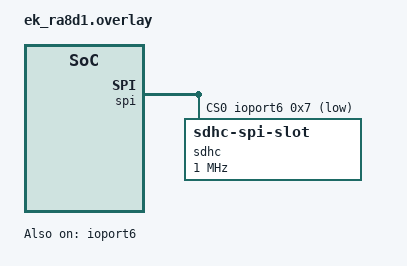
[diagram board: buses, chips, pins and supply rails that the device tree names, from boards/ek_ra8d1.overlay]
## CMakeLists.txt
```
# SPDX-License-Identifier: Apache-2.0

cmake_minimum_required(VERSION 3.28.0)
find_package(Zephyr REQUIRED HINTS $ENV{ZEPHYR_BASE})
project(fs_sample)

FILE(GLOB app_sources src/*.c)
target_sources(app PRIVATE ${app_sources})
```

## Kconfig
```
#
# Copyright (c) 2023 Nordic Semiconductor ASA
# Copyright (c) 2023 Antmicro <www.antmicro.com>
#
# SPDX-License-Identifier: Apache-2.0
#

mainmenu "Filesystems Sample Application"

config FS_SAMPLE_CREATE_SOME_ENTRIES
	bool "When no files are found on mounted partition create some"
	default y
	help
	  In case when no files could be listed, because there are none,
	  "some.dir" directory and "other.txt" file will be created
	  and list will run again to show them. This is useful when
	  showing how file system works on non-SD devices like internal
	  flash or (Q)SPI connected memories, where it is not possible to
	  easily add files with use of other device.

config FS_SAMPLE_MKFS
	bool "Format the disk when mounting fails"
	depends on FILE_SYSTEM_MKFS
	help
	  Format a blank disk and retry the mount. Enable this for the
	  SDHC emulator, whose storage starts erased.

source "Kconfig.zephyr"
```

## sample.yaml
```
sample:
  name: Filesystems sample
common:
  tags: filesystem
  modules:
    - fatfs
tests:
  sample.filesystem.fat_fs:
    depends_on: sdhc
    harness: console
    harness_config:
      fixture: fixture_sdhc
      type: multi_line
      regex:
        - "Block count"
        - "Sector size"
        - "Memory Size"
        - "Disk mounted"
    extra_args:
      - platform:ek_ra8m1/r7fa8m1ahecbd:SHIELD=pmod_sd
      - platform:ek_ra8p1/r7ka8p1kflcac/cm85:SHIELD=pmod_sd
  sample.filesystem.fat_fs.overlay:
    platform_allow: nrf52840_blip
  sample.filesystem.fat_fs.adafruit_2_8_tft_touch_v2:
    depends_on:
      - arduino_spi
      - arduino_gpio
      - arduino_i2c
    platform_exclude:
      - stm32f769i_disco
      - pan1781_evb
      - pan1782_evb
      - frdm_k64f
      - mimxrt1010_evk
    extra_args: SHIELD=adafruit_2_8_tft_touch_v2
    tags: shield
    harness: console
    harness_config:
      fixture: fixture_shield_adafruit_2_8_tft_touch_v2
      type: multi_line
      regex:
        - "Block count"
        - "Sector size"
        - "Memory Size"
        - "Disk mounted"
  sample.filesystem.fat_fs.nrf52840dk_nrf52840:
    build_only: true
    platform_allow: nrf52840dk/nrf52840
  sample.filesystem.fat_fs.nrf52840dk_nrf52840_ram_disk:
    build_only: true
    platform_allow: nrf52840dk/nrf52840
    extra_args:
      - EXTRA_CONF_FILE=boards/nrf52840dk_nrf52840_ram_disk.conf
      - DTC_OVERLAY_FILE=boards/nrf52840dk_nrf52840_ram_disk.overlay
  sample.filesystem.fat_fs.nrf52840dk_nrf52840_ram_disk_region:
    build_only: true
    platform_allow: nrf52840dk/nrf52840
    extra_args:
      - EXTRA_CONF_FILE=boards/nrf52840dk_nrf52840_ram_disk.conf
      - DTC_OVERLAY_FILE=boards/nrf52840dk_nrf52840_ram_disk_region.overlay
  sample.filesystem.fat_fs.nrf54l15dk:
    build_only: true
    platform_allow: nrf54l15dk/nrf54l15/cpuapp
  sample.filesystem.fat_fs.ophelia4ev:
    build_only: true
    platform_allow: ophelia4ev/nrf54l15/cpuapp
  sample.filesystem.fat_fs.nrf52840dk_nrf52840.qspi:
    build_only: true
    platform_allow: nrf52840dk/nrf52840
    extra_args:
      - EXTRA_CONF_FILE=boards/nrf52840dk_nrf52840_qspi.conf
      - DTC_OVERLAY_FILE=boards/nrf52840dk_nrf52840_qspi.overlay
  sample.filesystem.fat_fs.has_sdmmc_disk:
    build_only: true
    filter: dt_compat_enabled("zephyr,sdmmc-disk")
    integration_platforms:
      - frdm_k64f
  sample.filesystem.ext2:
    simulation_exclude:
      - renode
    extra_args: CONF_FILE="prj_ext.conf"
    platform_allow:
      - hifive_unmatched/fu740/s7
      - bl5340_dvk/nrf5340/cpuapp
  sample.filesystem.fat_fs.stm32h747i_disco_m7_sdmmc:
    build_only: true
    platform_allow: stm32h747i_disco/stm32h747xx/m7
  sample.filesystem.fat_fs.stm32f746g_sdmmc_dma:
    build_only: true
    platform_allow: stm32f746g_disco
    extra_args:
      - FILE_SUFFIX=dma
  sample.filesystem.fat_fs.sdhc_spi.renesas_sci_b_spi:
    depends_on: spi
    filter: dt_compat_enabled("zephyr,sdhc-spi-slot") and dt_compat_enabled("renesas,ra-spi-sci-b")
    harness: console
    harness_config:
      fixture: fixture_sdhc
      type: multi_line
      regex:
        - "Block count"
        - "Sector size"
        - "Memory Size"
        - "Disk mounted"
    extra_args:
      - DTC_OVERLAY_FILE="boards/${BOARD}_sci_b_spi.overlay"
    integration_platforms:
      - ek_ra8m1
    platform_allow:
      - ek_ra8m1
      - ek_ra8d1
      - mck_ra8t1
  sample.filesystem.fat_fs.sdhc_spi.renesas_sci_b_spi_ra8x2:
    depends_on: spi
    filter: dt_compat_enabled("zephyr,sdhc-spi-slot") and dt_compat_enabled("renesas,ra-spi-sci-b")
    harness: console
    harness_config:
      fixture: fixture_sdhc
      type: multi_line
      regex:
        - "Block count"
        - "Sector size"
        - "Memory Size"
        - "Disk mounted"
    extra_args:
      - DTC_OVERLAY_FILE="boards/${BOARD}_${NORMALIZED_BOARD_QUALIFIERS}_sci_b_spi.overlay"
    platform_allow:
      - ek_ra8p1/r7ka8p1kflcac/cm85
```

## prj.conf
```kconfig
CONFIG_DISK_ACCESS=y
CONFIG_LOG=y
CONFIG_FILE_SYSTEM=y
CONFIG_FAT_FILESYSTEM_ELM=y
CONFIG_PRINTK=y
CONFIG_MAIN_STACK_SIZE=2560
```

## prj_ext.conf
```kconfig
# Copyright (c) 2023 Antmicro <www.antmicro.com>
# SPDX-License-Identifier: Apache-2.0

CONFIG_LOG=y
CONFIG_LOG_MODE_IMMEDIATE=y

CONFIG_MAIN_STACK_SIZE=2048

CONFIG_FILE_SYSTEM=y
CONFIG_FILE_SYSTEM_EXT2=y

# Enable to allow formatting
# CONFIG_FILE_SYSTEM_MKFS=y
# CONFIG_TEST_RANDOM_GENERATOR=y

CONFIG_DISK_ACCESS=y

# First block of first partition after GPT
CONFIG_EXT2_DISK_STARTING_SECTOR=2082
```

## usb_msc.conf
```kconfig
# Copyright (c) 2026 Espressif Systems (Shanghai) Co., Ltd.
# SPDX-License-Identifier: Apache-2.0

CONFIG_MAIN_STACK_SIZE=4096

CONFIG_USB_HOST_STACK=y
CONFIG_USBH_MSC=y
CONFIG_UHC_BUF_POOL_SIZE=8192

CONFIG_DISK_DRIVERS=y
CONFIG_USB_MSC_DISK=y

CONFIG_FS_FATFS_LFN=y
CONFIG_FS_FATFS_LFN_MODE_BSS=y
```

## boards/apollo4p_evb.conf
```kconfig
CONFIG_MMC_STACK=y

CONFIG_MAIN_STACK_SIZE=8192
CONFIG_IDLE_STACK_SIZE=4096
CONFIG_AMBIQ_SDIO_ASYNC=y
CONFIG_PM=y
CONFIG_PM_DEVICE=y
CONFIG_PM_DEVICE_RUNTIME=y
```

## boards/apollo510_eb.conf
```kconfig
CONFIG_MMC_STACK=y

CONFIG_MAIN_STACK_SIZE=8192
CONFIG_IDLE_STACK_SIZE=4096
CONFIG_AMBIQ_SDIO_ASYNC=y
CONFIG_MMC_DDR50=y
CONFIG_MMC_CARD_8BIT_WIDTH=y
```

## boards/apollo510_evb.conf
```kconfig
CONFIG_MMC_STACK=y

CONFIG_MAIN_STACK_SIZE=8192
CONFIG_IDLE_STACK_SIZE=4096
```

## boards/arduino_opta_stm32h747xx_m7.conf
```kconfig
#
# Copyright (c) 2025 DNDG srl
#
# SPDX-License-Identifier: Apache-2.0
#

# Usually, some files are already present on the first partition,
# don't create new ones or format the partition in case of failure.
CONFIG_FILE_SYSTEM_MKFS=n
CONFIG_FS_SAMPLE_CREATE_SOME_ENTRIES=n
CONFIG_FS_FATFS_MOUNT_MKFS=n

# Arduino format FAT volumes using a 4096 bytes sector size.
CONFIG_FS_FATFS_MAX_SS=4096
```

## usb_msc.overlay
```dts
/*
 * Copyright (c) 2026 Espressif Systems (Shanghai) Co., Ltd.
 * SPDX-License-Identifier: Apache-2.0
 */

/ {
	usb_disk: usb_disk {
		compatible = "zephyr,usb-msc-disk";
		disk-name = "USB";
		status = "okay";
	};
};
```

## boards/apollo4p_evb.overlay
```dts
/*
 * Copyright (C) 2025 Ambiq Micro Inc. <www.ambiq.com>
 *
 * SPDX-License-Identifier: Apache-2.0
 */

/ {
	aliases {
		sdhc0 = &sdio0;
	};
};

&sdio0 {
	status = "okay";
	mmc {
		status = "okay";
	};
};
```

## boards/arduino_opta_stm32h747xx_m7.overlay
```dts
/*
 * Copyright (c) 2025 DNDG srl
 *
 * SPDX-License-Identifier: Apache-2.0
 */

/ {
	flash_disk0 {
		compatible = "zephyr,flash-disk";
		partition = <&wlan_partition>;
		disk-name = "SD";
		/* A sector size of 4096 is needed to correctly operate on partitions
		 * formatted by Arduino example sketches. It is possible to reformat
		 * the external flash and use a different sector size if needed.
		 */
		sector-size = <4096>;
		cache-size = <4096>;
		status = "okay";
	};
};
```

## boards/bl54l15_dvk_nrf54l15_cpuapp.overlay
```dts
/*
 * Copyright (c) 2024 Nordic Semiconductor ASA
 * Copyright (c) 2025 Ezurio LLC
 *
 * SPDX-License-Identifier: Apache-2.0
 */

/* Because FAT FS needs at least 64kiB partition and default
 * storage_partition is 36kiB for this board, we need to reorganize
 * partitions to get at least 64KiB.
 */
/delete-node/ &slot0_partition;
/delete-node/ &slot1_partition;
/delete-node/ &storage_partition;

&cpuapp_rram {
	partitions {
		ranges;
		#address-cells = <1>;
		#size-cells = <1>;

		slot0_partition: partition@10000 {
			compatible = "zephyr,mapped-partition";
			reg = <0x00010000 DT_SIZE_K(300)>;
		};

		slot1_partition: partition@5b000 {
			compatible = "zephyr,mapped-partition";
			reg = <0x0005b000 DT_SIZE_K(300)>;
		};

		storage_partition: partition@a6000 {
			compatible = "zephyr,mapped-partition";
			reg = <0x000a6000 DT_SIZE_K(128)>;
			label = "storage";
		};
	};
};

/ {
	msc_disk0 {
		compatible = "zephyr,flash-disk";
		partition = <&storage_partition>;
		disk-name = "SD";
		cache-size = <512>;
		status = "okay";
	};
};
```

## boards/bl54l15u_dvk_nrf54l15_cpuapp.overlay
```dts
/*
 * Copyright (c) 2024 Nordic Semiconductor ASA
 * Copyright (c) 2025 Ezurio LLC
 *
 * SPDX-License-Identifier: Apache-2.0
 */

/* Because FAT FS needs at least 64kiB partition and default
 * storage_partition is 36kiB for this board, we need to reorganize
 * partitions to get at least 64KiB.
 */
/delete-node/ &slot0_partition;
/delete-node/ &slot1_partition;
/delete-node/ &storage_partition;

&cpuapp_rram {
	partitions {
		#address-cells = <1>;
		#size-cells = <1>;
		ranges;

		slot0_partition: partition@10000 {
			compatible = "zephyr,mapped-partition";
			reg = <0x00010000 DT_SIZE_K(300)>;
		};

		slot1_partition: partition@5b000 {
			compatible = "zephyr,mapped-partition";
			reg = <0x0005b000 DT_SIZE_K(300)>;
		};

		storage_partition: partition@a6000 {
			compatible = "zephyr,mapped-partition";
			label = "storage";
			reg = <0x000a6000 DT_SIZE_K(128)>;
		};
	};
};

/ {
	msc_disk0 {
		status = "okay";
		compatible = "zephyr,flash-disk";
		partition = <&storage_partition>;
		disk-name = "SD";
		cache-size = <512>;
	};
};
```

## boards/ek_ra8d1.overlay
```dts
/*
 * Copyright (c) 2025 Renesas Electronics Corporation
 * SPDX-License-Identifier: Apache-2.0
 */

&pinctrl {
	/* Set SW1-1 (PMOD1) to low and SW1-7 (SDRAM) to high */
	sci0_spi_default: sci0_spi_default {
		group1 {
			/* MISO MOSI SCK */
			psels = <RA_PSEL(RA_PSEL_SCI_0, 6, 10)>,
				<RA_PSEL(RA_PSEL_SCI_0, 6, 9)>,
				<RA_PSEL(RA_PSEL_SCI_0, 6, 11)>;
			drive-strength = "high";
		};
	};
};

&ioport6 {
	status = "okay";
};

&sci0 {
	pinctrl-0 = <&sci0_spi_default>;
	pinctrl-names = "default";

	spi {
		cs-gpios = <&ioport6 0x7 GPIO_ACTIVE_LOW>;
		status = "okay";

		sdhc@0 {
			compatible = "zephyr,sdhc-spi-slot";
			reg = <0>;
			status = "okay";
			mmc {
				compatible = "zephyr,sdmmc-disk";
				disk-name = "SD";
				status = "okay";
			};
			spi-max-frequency = <1000000>;
		};
	};

	uart {
		status = "disabled";
	};

	i2c {
		status = "disabled";
	};
};
```

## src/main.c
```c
/*
 * Copyright (c) 2019 Tavish Naruka <tavishnaruka@gmail.com>
 * Copyright (c) 2023 Nordic Semiconductor ASA
 * Copyright (c) 2023 Antmicro <www.antmicro.com>
 *
 * SPDX-License-Identifier: Apache-2.0
 */

/* Sample which uses the filesystem API and SDHC driver */

#include <zephyr/kernel.h>
#include <zephyr/device.h>
#include <zephyr/storage/disk_access.h>
#include <zephyr/logging/log.h>
#include <zephyr/fs/fs.h>

#if defined(CONFIG_FAT_FILESYSTEM_ELM)

#include <ff.h>

/*
 *  Note the fatfs library is able to mount only strings inside _VOLUME_STRS
 *  in ffconf.h
 */
#if defined(CONFIG_DISK_DRIVER_MMC)
#define DISK_DRIVE_NAME "SD2"
#else
#define DISK_DRIVE_NAME "SD"
#endif

#define DISK_MOUNT_PT "/"DISK_DRIVE_NAME":"

static FATFS fat_fs;
/* mounting info */
static struct fs_mount_t mp = {
	.type = FS_FATFS,
	.fs_data = &fat_fs,
};

#elif defined(CONFIG_FILE_SYSTEM_EXT2)

#include <zephyr/fs/ext2.h>

#define DISK_DRIVE_NAME "SD"
#define DISK_MOUNT_PT "/ext"

static struct fs_mount_t mp = {
	.type = FS_EXT2,
	.flags = FS_MOUNT_FLAG_NO_FORMAT,
	.storage_dev = (void *)DISK_DRIVE_NAME,
	.mnt_point = "/ext",
};

#endif

#if defined(CONFIG_FAT_FILESYSTEM_ELM)
#define FS_RET_OK FR_OK
#else
#define FS_RET_OK 0
#endif

LOG_MODULE_REGISTER(main);

#define MAX_PATH 128
#define SOME_FILE_NAME "some.dat"
#define SOME_DIR_NAME "some"
#define SOME_REQUIRED_LEN MAX(sizeof(SOME_FILE_NAME), sizeof(SOME_DIR_NAME))

static int lsdir(const char *path);
#ifdef CONFIG_FS_SAMPLE_CREATE_SOME_ENTRIES
static bool create_some_entries(const char *base_path)
{
	char path[MAX_PATH];
	struct fs_file_t file;
	int base = strlen(base_path);

	fs_file_t_init(&file);

	if (base >= (sizeof(path) - SOME_REQUIRED_LEN)) {
		LOG_ERR("Not enough concatenation buffer to create file paths");
		return false;
	}

	LOG_INF("Creating some dir entries in %s", base_path);
	strncpy(path, base_path, sizeof(path));

	path[base++] = '/';
	path[base] = 0;
	strcat(&path[base], SOME_FILE_NAME);

	if (fs_open(&file, path, FS_O_CREATE) != 0) {
		LOG_ERR("Failed to create file %s", path);
		return false;
	}
	fs_close(&file);

	path[base] = 0;
	strcat(&path[base], SOME_DIR_NAME);

	if (fs_mkdir(path) != 0) {
		LOG_ERR("Failed to create dir %s", path);
		/* If code gets here, it has at least successes to create the
		 * file so allow function to return true.
		 */
	}
	return true;
}
#endif

static const char *disk_mount_pt = DISK_MOUNT_PT;

int main(void)
{
	/* raw disk i/o */
	do {
		static const char *disk_pdrv = DISK_DRIVE_NAME;
		uint64_t memory_size_mb;
		uint32_t block_count;
		uint32_t block_size;

		if (disk_access_ioctl(disk_pdrv,
				DISK_IOCTL_CTRL_INIT, NULL) != 0) {
			LOG_ERR("Storage init ERROR!");
			break;
		}

		if (disk_access_ioctl(disk_pdrv,
				DISK_IOCTL_GET_SECTOR_COUNT, &block_count)) {
			LOG_ERR("Unable to get sector count");
			break;
		}
		LOG_INF("Block count %u", block_count);

		if (disk_access_ioctl(disk_pdrv,
				DISK_IOCTL_GET_SECTOR_SIZE, &block_size)) {
			LOG_ERR("Unable to get sector size");
			break;
		}
		printk("Sector size %u\n", block_size);

		memory_size_mb = (uint64_t)block_count * block_size;
		printk("Memory Size(MB) %u\n", (uint32_t)(memory_size_mb >> 20));

		if (disk_access_ioctl(disk_pdrv,
				DISK_IOCTL_CTRL_DEINIT, NULL) != 0) {
			LOG_ERR("Storage deinit ERROR!");
			break;
		}
	} while (0);

	mp.mnt_point = disk_mount_pt;

	int res = fs_mount(&mp);

	if (res == FS_RET_OK) {
		printk("Disk mounted.\n");
		/* Try to unmount and remount the disk */
		res = fs_unmount(&mp);
		if (res != FS_RET_OK) {
			printk("Error unmounting disk\n");
			return res;
		}
		res = fs_mount(&mp);
		if (res != FS_RET_OK) {
			printk("Error remounting disk\n");
			return res;
		}

		if (lsdir(disk_mount_pt) == 0) {
#ifdef CONFIG_FS_SAMPLE_CREATE_SOME_ENTRIES
			if (create_some_entries(disk_mount_pt)) {
				lsdir(disk_mount_pt);
			}
#endif
		}
	} else if (IS_ENABLED(CONFIG_FS_SAMPLE_MKFS)) {
		res = fs_mkfs(FS_FATFS, (uintptr_t)DISK_DRIVE_NAME ":", NULL, 0);
		if (res == FS_RET_OK) {
			res = fs_mount(&mp);
		}
		if (res == FS_RET_OK) {
			printk("Disk mounted.\n");
		} else {
			printk("Error mounting disk.\n");
		}
	} else {
		printk("Error mounting disk.\n");
	}

	fs_unmount(&mp);

	while (1) {
		k_sleep(K_MSEC(1000));
	}
	return 0;
}

/* List dir entry by path
 *
 * @param path Absolute path to list
 *
 * @return Negative errno code on error, number of listed entries on
 *         success.
 */
static int lsdir(const char *path)
{
	int res;
	struct fs_dir_t dirp;
	static struct fs_dirent entry;
	int count = 0;

	fs_dir_t_init(&dirp);

	/* Verify fs_opendir() */
	res = fs_opendir(&dirp, path);
	if (res) {
		printk("Error opening dir %s [%d]\n", path, res);
		return res;
	}

	printk("\nListing dir %s ...\n", path);
	for (;;) {
		/* Verify fs_readdir() */
		res = fs_readdir(&dirp, &entry);

		/* entry.name[0] == 0 means end-of-dir */
		if (res || entry.name[0] == 0) {
			break;
		}

		if (entry.type == FS_DIR_ENTRY_DIR) {
			printk("[DIR ] %s\n", entry.name);
		} else {
			printk("[FILE] %s (size = %zu)\n",
				entry.name, entry.size);
		}
		count++;
	}

	/* Verify fs_closedir() */
	fs_closedir(&dirp);
	if (res == 0) {
		res = count;
	}

	return res;
}
```
